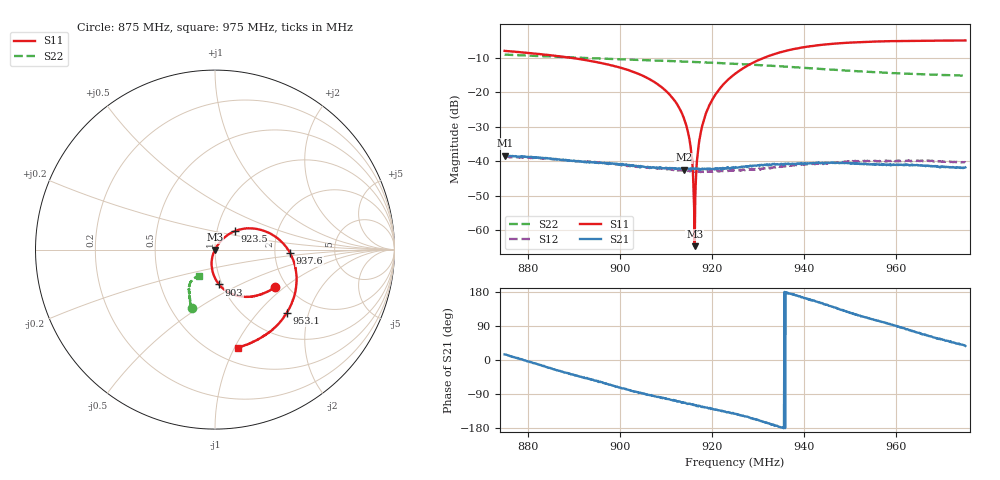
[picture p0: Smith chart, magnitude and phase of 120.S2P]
! C:\Users\rflab\Downloads\Lab5_KD_ZW\Q3\120.S2P
! Touchstone 1.1 file saved by VNA.EXE V1.65 (www.ke5fx.com/gpib/readme.htm)
! 11/18/2024 10:27:40 PM
!  Source: HEWLETT PACKARD,8753D,0,6.14
!  Min freq: 8.750000E+008 Hz
!  Max freq: 9.750200E+008 Hz
!  Points: 801
!  Params: S11 S21 S12 S22
# GHZ S MA R 50
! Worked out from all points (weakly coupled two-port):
!   801 points, 875 MHz to 975 MHz, reference 50 ohm
!   highest |S21| = -38.38 dB at 875.1 MHz (marker M1); lowest = -42.5 dB at 913.9 MHz (marker M2)
!   lowest |S11| = -64.7 dB at 916.3 MHz (marker M3), VSWR 1.00, Z = 50 + j0.0505 ohm
!   |S11| at or under -10 dB: 889.1 MHz to 931.4 MHz (42.34 MHz wide, 4.65 % of centre)
!   |S22| runs from -15.2 to -9.1 dB; largest |S21 - S12| = 0.0026
!   S11 on the Smith chart (normalised r, x): 875 MHz: 1.75, -0.86; 903 MHz: 0.97, -0.39; 923.5 MHz: 1.22, +0.26; 937.6 MHz: 2.43, -0.11; 953.1 MHz: 1.47, -1.45; 975 MHz: 0.65, -1.03
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0.875  0.3958 -31.7  0.01204 14.8  0.01161 23.3  0.3494 -111.8
0.875125  0.3942 -31.8  0.01205 14.6  0.01161 23.3  0.3484 -112.0
0.8917534  0.2975 -61.2  0.009895 -44.9  0.009912 -39.1  0.3149 -116.3
0.9030056  0.1956 -83.2  0.008618 -83.4  0.008373 -79.0  0.2943 -118.7
0.9083817  0.1275 -95.5  0.008002 -97.1  0.00783 -93.5  0.2859 -120.1
0.9116323  0.07936 -104.1  0.007849 -105.3  0.007397 -104.7  0.2811 -120.8
0.9138828  0.0425 -109.8  0.007531 -112.5  0.00727 -111.1  0.2774 -121.4
0.915133  0.02056 -113.3  0.007735 -115.7  0.00711 -113.8  0.2749 -121.7
0.9155081  0.01347 -114.8  0.007539 -116.9  0.007182 -114.9  0.2738 -121.7
0.9158832  0.006745 -113.2  0.007819 -116.5  0.007235 -114.8  0.2738 -121.9
0.9162583  0.000585 59.6  0.007775 -118.6  0.007258 -114.7  0.2734 -122.0
0.9166333  0.007738 65.2  0.007741 -121.6  0.007209 -117.9  0.2729 -122.1
0.9172584  0.01983 60.6  0.007585 -121.0  0.006999 -117.6  0.2708 -122.4
0.9183837  0.04228 57.9  0.007784 -124.1  0.00712 -120.9  0.2697 -122.6
0.9203841  0.0841 52.5  0.007661 -129.9  0.007216 -125.9  0.2654 -123.1
0.9235097  0.1517 42.8  0.008124 -137.4  0.007166 -132.8  0.2597 -123.9
0.92501  0.184 38.2  0.008006 -142.2  0.007403 -136.0  0.2563 -124.5
0.9376375  0.4179 -2.6  0.009154 172.9  0.008716 -175.4  0.2301 -126.7
0.9417633  0.4642 -14.5  0.009305 158.3  0.009153 169.3  0.2207 -127.0
0.9531406  0.533 -41.6  0.009191 113.1  0.01016 124.8  0.1984 -126.1
0.9583917  0.5469 -51.6  0.008779 95.6  0.01008 105.3  0.1899 -125.2
0.97502  0.5603 -76.9  0.008099 37.2  0.009548 42.0  0.1729 -121.1
